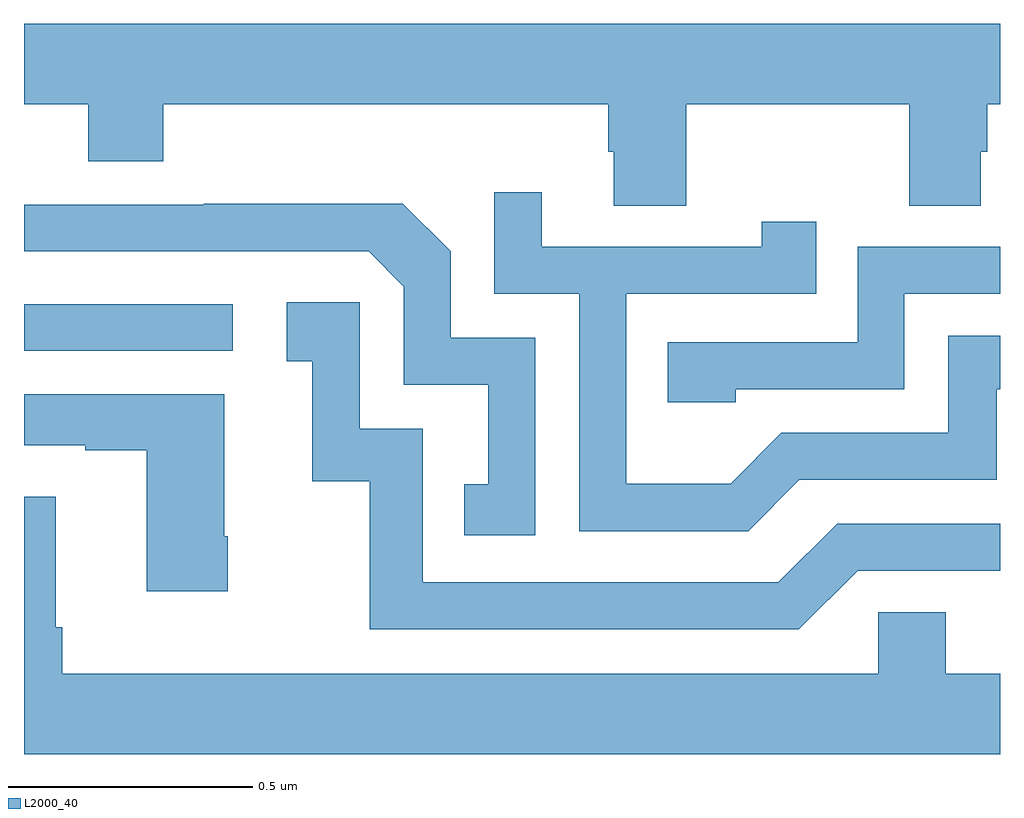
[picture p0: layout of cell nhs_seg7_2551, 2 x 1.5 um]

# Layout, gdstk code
import gdstk
lib = gdstk.Library(unit=1e-6, precision=1e-09)
def R(c, l, rs):  # rectangles x0, y0, x1, y1
    for r in rs: c.add(gdstk.rectangle(r[:2], r[2:], *l))
def P(c, l, *ps):  # polygons
    for p in ps: c.add(gdstk.Polygon(p, *l))
L2000_40 = (2000, 40)

nhs_seg7_2551 = lib.new_cell('nhs_seg7_2551')
R(nhs_seg7_2551, L2000_40, [(146,1060.05,146.428,1060.146)])
P(nhs_seg7_2551, L2000_40, [(147.357,1060.556),(147.814,1060.556),(147.814,1060.348),(147.961,1060.348),(147.961,1060.458),(147.974,1060.458),(147.974,1060.556),(148,1060.556),(148,1060.72),(146,1060.72),(146,1060.556),(146.132,1060.556),(146.132,1060.439),(146.285,1060.439),(146.285,1060.556),(147.197,1060.556),(147.197,1060.458),(147.209,1060.458),(147.209,1060.348),(147.357,1060.348)],
  [(147.589,1059.786),(147.993,1059.786),(147.993,1059.971),(148,1059.971),(148,1060.081),(147.894,1060.081),(147.894,1059.882),(147.552,1059.882),(147.448,1059.778),(147.234,1059.778),(147.234,1060.167),(147.623,1060.167),(147.623,1060.315),(147.512,1060.315),(147.512,1060.263),(147.061,1060.263),(147.061,1060.375),(146.964,1060.375),(146.964,1060.167),(147.138,1060.167),(147.138,1059.681),(147.484,1059.681)],
  [(147.048,1060.077),(146.874,1060.077),(146.874,1060.254),(146.776,1060.352),(146.368,1060.352),(146.368,1060.35),(146,1060.35),(146,1060.254),(146.706,1060.254),(146.778,1060.182),(146.778,1059.981),(146.951,1059.981),(146.951,1059.777),(146.902,1059.777),(146.902,1059.672),(147.048,1059.672)],
  [(147.459,1059.972),(147.804,1059.972),(147.804,1060.167),(148,1060.167),(148,1060.263),(147.708,1060.263),(147.708,1060.068),(147.319,1060.068),(147.319,1059.945),(147.459,1059.945)],
  [(147.708,1059.6),(148,1059.6),(148,1059.696),(147.666,1059.696),(147.546,1059.576),(146.817,1059.576),(146.817,1059.891),(146.688,1059.891),(146.688,1060.15),(146.538,1060.15),(146.538,1060.029),(146.591,1060.029),(146.591,1059.783),(146.709,1059.783),(146.709,1059.48),(147.588,1059.48)],
  [(146.418,1059.67),(146.41,1059.67),(146.41,1059.961),(146,1059.961),(146,1059.857),(146.126,1059.857),(146.126,1059.847),(146.252,1059.847),(146.252,1059.558),(146.418,1059.558)],
  [(148,1059.388),(147.889,1059.388),(147.889,1059.515),(147.75,1059.515),(147.75,1059.388),(146.078,1059.388),(146.078,1059.484),(146.065,1059.484),(146.065,1059.751),(146,1059.751),(146,1059.224),(148,1059.224)])

lib.write_gds('nhs_seg7_2551.gds')
